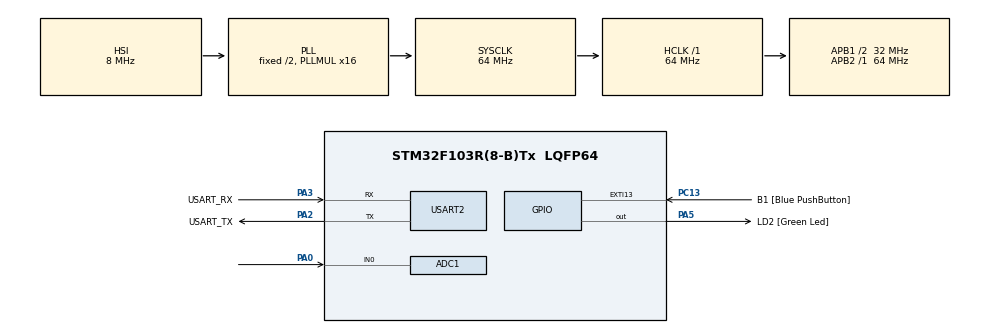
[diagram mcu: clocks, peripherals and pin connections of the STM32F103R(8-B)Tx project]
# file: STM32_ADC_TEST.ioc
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ADC1.Channel-2\#ChannelRegularConversion=ADC_CHANNEL_0
ADC1.ContinuousConvMode=ENABLE
ADC1.EnableRegularConversion=ENABLE
ADC1.NbrOfConversionFlag=1
ADC1.Rank-2\#ChannelRegularConversion=1
ADC1.SamplingTime-2\#ChannelRegularConversion=ADC_SAMPLETIME_1CYCLE_5
ADC1.master=1
Mcu.Family=STM32F1
Mcu.Name=STM32F103R(8-B)Tx
Mcu.Package=LQFP64
NVIC.EXTI15_10_IRQn=true\:0\:0\:false\:false\:true\:true\:true\:true
NVIC.PriorityGroup=NVIC_PRIORITYGROUP_4
PA0-WKUP.Signal=ADCx_IN0
PA13.GPIO_Label=TMS
PA13.Mode=Serial_Wire
PA13.Signal=SYS_JTMS-SWDIO
PA14.GPIO_Label=TCK
PA14.Mode=Serial_Wire
PA14.Signal=SYS_JTCK-SWCLK
PA2.GPIO_Label=USART_TX
PA2.GPIO_Mode=GPIO_MODE_AF_PP
PA2.GPIO_PuPd=GPIO_NOPULL
PA2.GPIO_Speed=GPIO_SPEED_FREQ_LOW
PA2.Mode=Asynchronous
PA2.Signal=USART2_TX
PA3.GPIO_Label=USART_RX
PA3.GPIO_Mode=GPIO_MODE_AF_PP
PA3.GPIO_PuPd=GPIO_NOPULL
PA3.GPIO_Speed=GPIO_SPEED_FREQ_LOW
PA3.Mode=Asynchronous
PA3.Signal=USART2_RX
PA5.GPIO_Label=LD2 [Green Led]
PA5.GPIO_ModeDefaultOutputPP=GPIO_MODE_OUTPUT_PP
PA5.GPIO_PuPd=GPIO_NOPULL
PA5.GPIO_Speed=GPIO_SPEED_FREQ_LOW
PA5.Signal=GPIO_Output
PB3.GPIO_Label=SWO
PB3.Signal=SYS_JTDO-TRACESWO
PC13-TAMPER-RTC.GPIO_Label=B1 [Blue PushButton]
PC13-TAMPER-RTC.GPIO_PuPd=GPIO_NOPULL
PC13-TAMPER-RTC.Signal=GPXTI13
PC14-OSC32_IN.Mode=LSE-External-Oscillator
PC14-OSC32_IN.Signal=RCC_OSC32_IN
PC15-OSC32_OUT.Mode=LSE-External-Oscillator
PC15-OSC32_OUT.Signal=RCC_OSC32_OUT
PD0-OSC_IN.Mode=HSE-External-Clock-Source
PD0-OSC_IN.Signal=RCC_OSC_IN
PD1-OSC_OUT.Mode=HSE-External-Clock-Source
PD1-OSC_OUT.Signal=RCC_OSC_OUT
ProjectManager.HeapSize=0x200
ProjectManager.StackSize=0x400
ProjectManager.TargetToolchain=STM32CubeIDE
RCC.ADCPresc=RCC_ADCPCLK2_DIV8
RCC.AHBFreq_Value=64000000
RCC.APB1CLKDivider=RCC_HCLK_DIV2
RCC.APB1Freq_Value=32000000
RCC.APB1TimFreq_Value=64000000
RCC.APB2Freq_Value=64000000
RCC.APB2TimFreq_Value=64000000
RCC.HCLKFreq_Value=64000000
RCC.PLLMUL=RCC_PLL_MUL16
RCC.RTCClockSelection=RCC_RTCCLKSOURCE_LSE
RCC.SYSCLKFreq_VALUE=64000000
RCC.SYSCLKSource=RCC_SYSCLKSOURCE_PLLCLK
RCC.USBFreq_Value=64000000
SH.ADCx_IN0.0=ADC1_IN0,IN0
USART2.VirtualMode=VM_ASYNC
board=NUCLEO-F103RB

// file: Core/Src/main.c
/* USER CODE BEGIN Header */
/**
  ******************************************************************************
  * @file           : main.c
  * @brief          : Main program body
  ******************************************************************************
  * @attention
  *
  * Copyright (c) 2024 STMicroelectronics.
  * All rights reserved.
  *
  * This software is licensed under terms that can be found in the LICENSE file
  * in the root directory of this software component.
  * If no LICENSE file comes with this software, it is provided AS-IS.
  *
  ******************************************************************************
  */
/* USER CODE END Header */
#include "main.h"

/* USER CODE BEGIN Includes */
#include <stdio.h>

/* USER CODE END Includes */

ADC_HandleTypeDef hadc1;

UART_HandleTypeDef huart2;

/* USER CODE BEGIN PV */
int __io_putchar(int ch)
{
  if ( ch == '\n' )
    HAL_UART_Transmit(&huart2, (uint8_t*)&"\r", 1, HAL_MAX_DELAY);
 HAL_UART_Transmit(&huart2, (uint8_t*)&ch, 1, HAL_MAX_DELAY);
 return ch;
}
/* USER CODE END PV */

void SystemClock_Config(void);
static void MX_GPIO_Init(void);
static void MX_USART2_UART_Init(void);
static void MX_ADC1_Init(void);

int main(void)
{

  /* MCU Configuration--------------------------------------------------------*/

  /* Reset of all peripherals, Initializes the Flash interface and the Systick. */
  HAL_Init();

  /* Configure the system clock */
  SystemClock_Config();

  /* Initialize all configured peripherals */
  MX_GPIO_Init();
  MX_USART2_UART_Init();
  MX_ADC1_Init();
  /* USER CODE BEGIN 2 */
  HAL_ADCEx_Calibration_Start(&hadc1);
  HAL_ADC_Start(&hadc1);
  /* USER CODE END 2 */

  /* Infinite loop */
  /* USER CODE BEGIN WHILE */
  while (1)
  {
    if (HAL_ADC_PollForConversion(&hadc1, 10) == HAL_OK)
    {
      uint16_t adc = HAL_ADC_GetValue(&hadc1);
      int voltage_mV = (adc*3300)/4096;
      printf("ADC: %d , VOL: %d mV\n", adc, voltage_mV);
    }
    else
    {
      printf("ADC time out");
    }
    HAL_Delay(10);
    /* USER CODE END WHILE */

  }
}

void SystemClock_Config(void)
{
  RCC_OscInitTypeDef RCC_OscInitStruct = {0};
  RCC_ClkInitTypeDef RCC_ClkInitStruct = {0};
  RCC_PeriphCLKInitTypeDef PeriphClkInit = {0};

  /** Initializes the RCC Oscillators according to the specified parameters
  * in the RCC_OscInitTypeDef structure.
  */
  RCC_OscInitStruct.OscillatorType = RCC_OSCILLATORTYPE_HSI;
  RCC_OscInitStruct.HSIState = RCC_HSI_ON;
  RCC_OscInitStruct.HSICalibrationValue = RCC_HSICALIBRATION_DEFAULT;
  RCC_OscInitStruct.PLL.PLLState = RCC_PLL_ON;
  RCC_OscInitStruct.PLL.PLLSource = RCC_PLLSOURCE_HSI_DIV2;
  RCC_OscInitStruct.PLL.PLLMUL = RCC_PLL_MUL16;
  if (HAL_RCC_OscConfig(&RCC_OscInitStruct) != HAL_OK)
  {
    Error_Handler();
  }

  /** Initializes the CPU, AHB and APB buses clocks
  */
  RCC_ClkInitStruct.ClockType = RCC_CLOCKTYPE_HCLK|RCC_CLOCKTYPE_SYSCLK
                              |RCC_CLOCKTYPE_PCLK1|RCC_CLOCKTYPE_PCLK2;
  RCC_ClkInitStruct.SYSCLKSource = RCC_SYSCLKSOURCE_PLLCLK;
  RCC_ClkInitStruct.AHBCLKDivider = RCC_SYSCLK_DIV1;
  RCC_ClkInitStruct.APB1CLKDivider = RCC_HCLK_DIV2;
  RCC_ClkInitStruct.APB2CLKDivider = RCC_HCLK_DIV1;

  if (HAL_RCC_ClockConfig(&RCC_ClkInitStruct, FLASH_LATENCY_2) != HAL_OK)
  {
    Error_Handler();
  }
  PeriphClkInit.PeriphClockSelection = RCC_PERIPHCLK_ADC;
  PeriphClkInit.AdcClockSelection = RCC_ADCPCLK2_DIV8;
  if (HAL_RCCEx_PeriphCLKConfig(&PeriphClkInit) != HAL_OK)
  {
    Error_Handler();
  }
}

static void MX_ADC1_Init(void)
{

  ADC_ChannelConfTypeDef sConfig = {0};

  /** Common config
  */
  hadc1.Instance = ADC1;
  hadc1.Init.ScanConvMode = ADC_SCAN_DISABLE;
  hadc1.Init.ContinuousConvMode = ENABLE;
  hadc1.Init.DiscontinuousConvMode = DISABLE;
  hadc1.Init.ExternalTrigConv = ADC_SOFTWARE_START;
  hadc1.Init.DataAlign = ADC_DATAALIGN_RIGHT;
  hadc1.Init.NbrOfConversion = 1;
  if (HAL_ADC_Init(&hadc1) != HAL_OK)
  {
    Error_Handler();
  }

  /** Configure Regular Channel
  */
  sConfig.Channel = ADC_CHANNEL_0;
  sConfig.Rank = ADC_REGULAR_RANK_1;
  sConfig.SamplingTime = ADC_SAMPLETIME_1CYCLE_5;
  if (HAL_ADC_ConfigChannel(&hadc1, &sConfig) != HAL_OK)
  {
    Error_Handler();
  }

}

static void MX_USART2_UART_Init(void)
{

  huart2.Instance = USART2;
  huart2.Init.BaudRate = 115200;
  huart2.Init.WordLength = UART_WORDLENGTH_8B;
  huart2.Init.StopBits = UART_STOPBITS_1;
  huart2.Init.Parity = UART_PARITY_NONE;
  huart2.Init.Mode = UART_MODE_TX_RX;
  huart2.Init.HwFlowCtl = UART_HWCONTROL_NONE;
  huart2.Init.OverSampling = UART_OVERSAMPLING_16;
  if (HAL_UART_Init(&huart2) != HAL_OK)
  {
    Error_Handler();
  }

}

static void MX_GPIO_Init(void)
{
  GPIO_InitTypeDef GPIO_InitStruct = {0};

  /* GPIO Ports Clock Enable */
  __HAL_RCC_GPIOC_CLK_ENABLE();
  __HAL_RCC_GPIOD_CLK_ENABLE();
  __HAL_RCC_GPIOA_CLK_ENABLE();
  __HAL_RCC_GPIOB_CLK_ENABLE();

  /*Configure GPIO pin Output Level */
  HAL_GPIO_WritePin(LD2_GPIO_Port, LD2_Pin, GPIO_PIN_RESET);

  /*Configure GPIO pin : B1_Pin */
  GPIO_InitStruct.Pin = B1_Pin;
  GPIO_InitStruct.Mode = GPIO_MODE_IT_RISING;
  GPIO_InitStruct.Pull = GPIO_NOPULL;
  HAL_GPIO_Init(B1_GPIO_Port, &GPIO_InitStruct);

  /*Configure GPIO pin : LD2_Pin */
  GPIO_InitStruct.Pin = LD2_Pin;
  GPIO_InitStruct.Mode = GPIO_MODE_OUTPUT_PP;
  GPIO_InitStruct.Pull = GPIO_NOPULL;
  GPIO_InitStruct.Speed = GPIO_SPEED_FREQ_LOW;
  HAL_GPIO_Init(LD2_GPIO_Port, &GPIO_InitStruct);

  /* EXTI interrupt init*/
  HAL_NVIC_SetPriority(EXTI15_10_IRQn, 0, 0);
  HAL_NVIC_EnableIRQ(EXTI15_10_IRQn);

}

void Error_Handler(void)
{
  __disable_irq();
  while (1)
  {
  }
}
